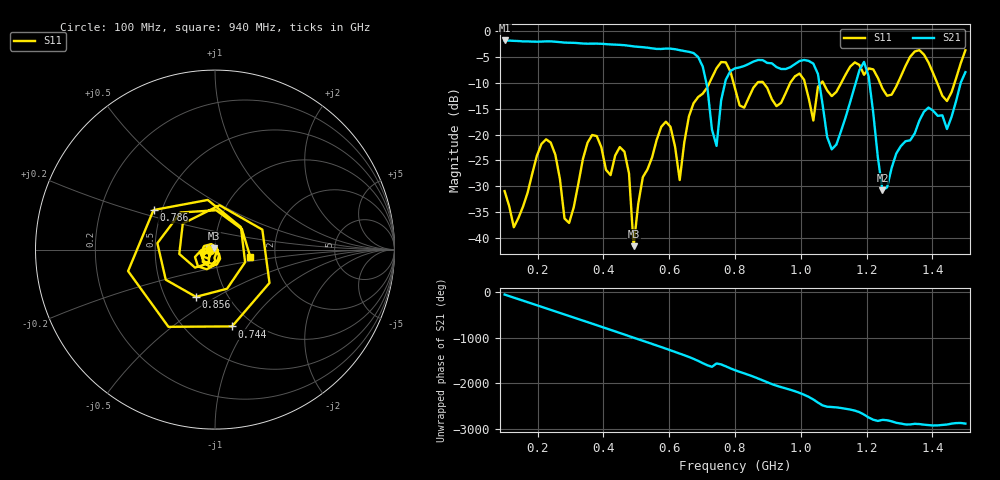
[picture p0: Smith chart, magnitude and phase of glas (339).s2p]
! NanoVNA-App
! Date: 2025-09-25 15:58:07
! Start: 100MHz Stop: 1,5GHz Points: 101
! S-Parameter data: F S11 S21 S12 S22
# Hz S RI R 50
!  Frequency  S11_Real  S11_Imag  S21_Real  S21_Imag  S12_Real  S12_Imag  S22_Real  S22_Imag
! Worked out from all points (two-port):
!   101 points, 100 MHz to 1.5 GHz, reference 50 ohm
!   highest |S21| = -1.80 dB at 100 MHz (marker M1); lowest = -30.8 dB at 1.248 GHz (marker M2)
!   |S21| within 3 dB of the highest: start of sweep to 684.4 MHz
!   lowest |S11| = -41.6 dB at 492 MHz (marker M3), VSWR 1.02, Z = 49.5 + j0.634 ohm
!   |S11| at or under -10 dB: start of sweep to 722.4 MHz; 795.4 MHz to 868.1 MHz (72.69 MHz wide, 8.74 % of centre); 886.2 MHz to 967.8 MHz (81.63 MHz wide, 8.81 % of centre) (the widest 3 of 7)
!   S12 and S22 are empty: the file has one direction only
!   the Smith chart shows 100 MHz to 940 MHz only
!   S11 on the Smith chart (normalised r, x): 100 MHz: 0.95, -0.01; 744 MHz: 0.81, -0.85; 786 MHz: 0.45, +0.24; 856 MHz: 0.71, -0.41; 940 MHz: 1.49, -0.13
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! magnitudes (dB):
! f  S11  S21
! 100 MHz  -30.9  -1.8
! 128 MHz  -37.9  -1.9
! 226 MHz  -20.9  -2.0
! 296 MHz  -37.1  -2.2
! 338 MHz  -24.7  -2.4
! 464 MHz  -23.3  -2.7
! 492 MHz  -41.6  -2.9
! 576 MHz  -18.5  -3.4
! 632 MHz  -28.8  -3.7
! 702 MHz  -12.1  -6.8
! 744 MHz  -7.2  -22.2
! 786 MHz  -7.8  -7.7
! 800 MHz  -11.1  -7.2
! 856 MHz  -10.9  -5.9
! 940 MHz  -13.9  -7.3
! 1.038 GHz  -17.3  -6.3
! 1.094 GHz  -12.6  -22.9
! 1.192 GHz  -8.4  -6.0
! 1.248 GHz  -11.1  -30.8
! 1.276 GHz  -12.3  -26.4
! 1.444 GHz  -13.5  -18.9
! 1.5 GHz  -3.7  -7.9
